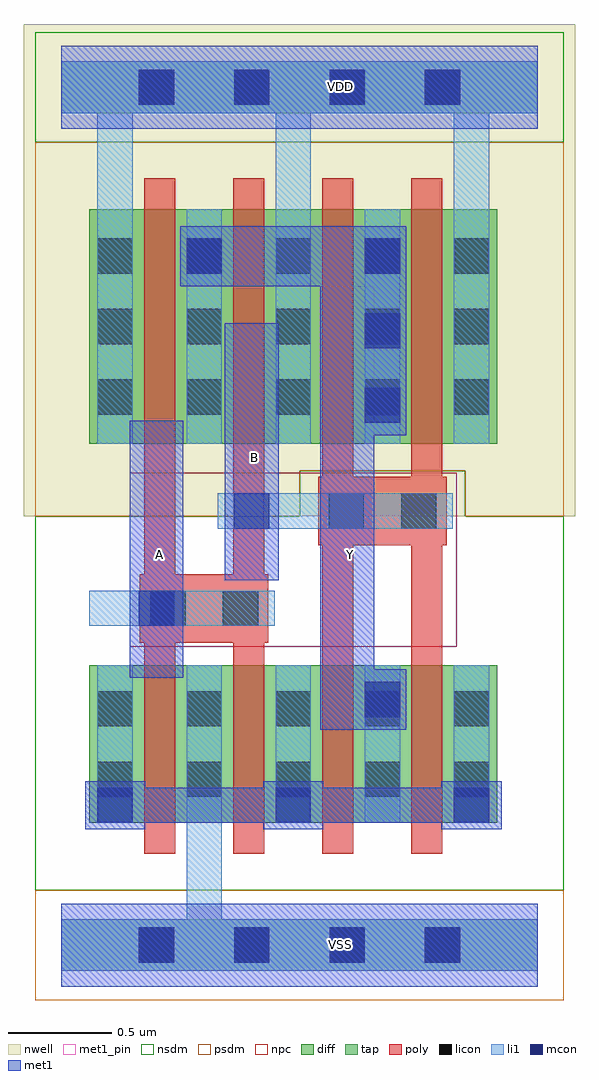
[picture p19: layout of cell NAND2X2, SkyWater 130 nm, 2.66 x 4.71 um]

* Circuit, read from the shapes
.subckt NAND2X2 A B VDD VSS Y
XM1 VSS A n1 VSS sky130_fd_pr__nfet_01v8 w=0.76 l=0.15 m=2
XM2 Y B n1 VSS sky130_fd_pr__nfet_01v8 w=0.76 l=0.15 m=2
XM3 Y A VDD VDD sky130_fd_pr__pfet_01v8 w=1.13 l=0.15 m=2
XM4 Y B VDD VDD sky130_fd_pr__pfet_01v8 w=1.13 l=0.15 m=2
.ends

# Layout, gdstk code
from math import pi, radians
import gdstk
lib = gdstk.Library(unit=1e-6, precision=1e-09)
def R(c, l, rs):  # rectangles x0, y0, x1, y1
    for r in rs: c.add(gdstk.rectangle(r[:2], r[2:], *l))
def A(c, l, x, y, w, h, nx, ny, dx, dy):  # array of equal rectangles
    R(c, l, [(x+i*dx, y+j*dy, x+i*dx+w, y+j*dy+h) for i in range(nx) for j in range(ny)])
def P(c, l, *ps):  # polygons
    for p in ps: c.add(gdstk.Polygon(p, *l))
nwell = (64, 20)
diff = (65, 20)
tap = (65, 44)
poly = (66, 20)
licon = (66, 44)
li1 = (67, 20)
mcon = (67, 44)
met1_pin = (68, 16)
met1 = (68, 20)
nsdm = (93, 44)
psdm = (94, 20)
npc = (95, 20)

l1m1_c_cdns_750710154092 = lib.new_cell('L1M1_C_CDNS_7507101540922')
R(l1m1_c_cdns_750710154092, li1, [(-0.085,-0.085,0.085,0.165)])
R(l1m1_c_cdns_750710154092, mcon, [(-0.085,-0.085,0.085,0.085)])
R(l1m1_c_cdns_750710154092, met1, [(-0.145,-0.115,0.145,0.115)])

l1m1_c_cdns_750710154090 = lib.new_cell('L1M1_C_CDNS_750710154090')
R(l1m1_c_cdns_750710154090, li1, [(-0.165,-0.085,0.165,0.085)])
R(l1m1_c_cdns_750710154090, mcon, [(-0.085,-0.085,0.085,0.085)])
R(l1m1_c_cdns_750710154090, met1, [(-0.115,-0.145,0.115,0.145)])

l1m1_c_cdns_750710154098 = lib.new_cell('L1M1_C_CDNS_750710154098')
R(l1m1_c_cdns_750710154098, li1, [(-0.085,-0.525,0.085,0.525)])
A(l1m1_c_cdns_750710154098, mcon, -0.085, -0.445, 0.17, 0.17, 1, 3, 0, 0.36)
R(l1m1_c_cdns_750710154098, met1, [(-0.115,-0.505,0.115,0.505)])

l1m1_c_cdns_750710154091 = lib.new_cell('L1M1_C_CDNS_750710154091')
R(l1m1_c_cdns_750710154091, li1, [(-0.085,-0.165,0.085,0.165)])
R(l1m1_c_cdns_750710154091, mcon, [(-0.085,-0.085,0.085,0.085)])
R(l1m1_c_cdns_750710154091, met1, [(-0.115,-0.145,0.115,0.145)])

pyl1con_c_cdns_750710154 = lib.new_cell('PYL1CON_C_CDNS_750710154092')
R(pyl1con_c_cdns_750710154, poly, [(-0.135,-0.165,0.135,0.165)])
R(pyl1con_c_cdns_750710154, licon, [(-0.085,-0.085,0.085,0.085)])
R(pyl1con_c_cdns_750710154, npc, [(-0.185,-0.185,0.185,0.185)])

nand2x2 = lib.new_cell('NAND2X2')
R(nand2x2, nwell, [(-0.18,2.07,2.48,4.305), (-0.045,2.24,1.215,3.73), (0.855,2.24,2.285,3.73), (-0.18,3.875,2.48,4.445)])
A(nand2x2, diff, 0.4, 0.59, 0.15, 0.76, 4, 1, 0.43, 0)
A(nand2x2, diff, 0.4, 2.42, 0.15, 1.13, 4, 1, 0.43, 0)
R(nand2x2, diff, [(0.135,0.59,0.4,1.35), (0.55,0.59,0.83,1.35), (0.98,0.59,1.205,1.35), (1.205,0.59,1.26,1.35), (1.41,0.59,1.69,1.35), (1.84,0.59,2.105,1.35), (0.135,2.42,0.4,3.55), (0.55,2.42,0.83,3.55), (0.98,2.42,1.035,3.55), (1.035,2.42,1.26,3.55), (1.41,2.42,1.69,3.55), (1.84,2.42,2.105,3.55)])
A(nand2x2, poly, 0.4, 0.44, 0.15, 0.055, 4, 2, 0.43, 1.005)
A(nand2x2, poly, 0.4, 0.495, 0.15, 0.095, 4, 2, 0.43, 0.855)
A(nand2x2, poly, 0.4, 0.59, 0.15, 0.76, 4, 1, 0.43, 0)
A(nand2x2, poly, 0.4, 2.27, 0.15, 0.055, 4, 2, 0.43, 1.375)
A(nand2x2, poly, 0.4, 2.325, 0.15, 0.095, 4, 2, 0.43, 1.225)
A(nand2x2, poly, 0.4, 2.42, 0.15, 1.13, 4, 1, 0.43, 0)
A(nand2x2, licon, 0.375, -0.085, 0.17, 0.17, 4, 2, 0.46, 4.14)
A(nand2x2, licon, 0.175, 0.715, 0.17, 0.17, 5, 2, 0.43, 0.34)
A(nand2x2, licon, 0.175, 2.56, 0.17, 0.17, 5, 3, 0.43, 0.34)
A(nand2x2, li1, 0.175, 0.59, 0.17, 0.76, 5, 1, 0.43, 0)
A(nand2x2, li1, 0.175, 2.42, 0.17, 1.13, 5, 1, 0.43, 0)
A(nand2x2, mcon, 0.375, -0.085, 0.17, 0.17, 4, 2, 0.46, 4.14)
R(nand2x2, met1_pin, [(1.25,1.04,1.51,3.18), (0.33,1.29,0.59,2.53), (0.79,1.76,1.05,3)])
R(nand2x2, nsdm, [(-0.005,0.46,1.215,1.48), (1.195,0.46,2.245,1.48), (-0.125,3.875,2.425,4.405), (-0.125,3.93,2.425,4.35)])
P(nand2x2, nsdm, [(2.425,2.07),(1.95,2.07),(1.95,2.29),(1.15,2.29),(1.15,2.07),(-0.125,2.07),(-0.125,0.265),(2.425,0.265)])
R(nand2x2, psdm, [(-0.125,-0.265,2.425,0.265), (-0.125,-0.21,2.425,0.21), (-0.005,2.29,1.045,3.68), (1.025,2.29,2.245,3.68)])
P(nand2x2, psdm, [(2.425,3.875),(-0.125,3.875),(-0.125,2.07),(1.15,2.07),(1.15,2.29),(1.95,2.29),(1.95,2.07),(2.425,2.07)])
R(nand2x2, npc, [(0.33,1.44,1.91,2.28)])
nand2x2.add(gdstk.FlexPath([(0.69,0.59),(0.69,0)], 0.17, ends="flush", simple_path=True, layer=67, datatype=20))  # li1
nand2x2.add(gdstk.FlexPath([(0.26,4.14),(1.12,4.14)], 0.25, ends=(0.085, 0.085), simple_path=True, layer=67, datatype=20))  # li1
nand2x2.add(gdstk.FlexPath([(0,4.14),(0.26,4.14)], 0.25, ends=(0, 0.085), simple_path=True, layer=67, datatype=20))  # li1
nand2x2.add(gdstk.FlexPath([(1.12,4.14),(1.98,4.14)], 0.25, ends=(0.085, 0.085), simple_path=True, layer=67, datatype=20))  # li1
nand2x2.add(gdstk.FlexPath([(1.98,0),(2.3,0)], 0.25, ends=(0.085, 0), simple_path=True, layer=67, datatype=20))  # li1
nand2x2.add(gdstk.FlexPath([(0.26,4.14),(0.215,4.14)], 0.17, ends=(0.085, 0), simple_path=True, layer=67, datatype=20))  # li1
nand2x2.add(gdstk.FlexPath([(0.995,2.095),(1.54,2.095)], 0.17, ends="flush", simple_path=True, layer=67, datatype=20))  # li1
nand2x2.add(gdstk.FlexPath([(1.12,4.14),(0.26,4.14)], 0.17, ends="extended", simple_path=True, layer=67, datatype=20))  # li1
nand2x2.add(gdstk.FlexPath([(1.54,2.095),(1.89,2.095)], 0.17, ends="flush", simple_path=True, layer=67, datatype=20))  # li1
nand2x2.add(gdstk.FlexPath([(0.135,1.625),(0.68,1.625)], 0.17, ends="flush", simple_path=True, layer=67, datatype=20))  # li1
nand2x2.add(gdstk.FlexPath([(0.26,0),(1.12,0)], 0.25, ends=(0.085, 0.085), simple_path=True, layer=67, datatype=20))  # li1
nand2x2.add(gdstk.FlexPath([(1.12,0),(1.98,0)], 0.25, ends=(0.085, 0.085), simple_path=True, layer=67, datatype=20))  # li1
nand2x2.add(gdstk.FlexPath([(0,0),(0.26,0)], 0.25, ends=(0, 0.085), simple_path=True, layer=67, datatype=20))  # li1
nand2x2.add(gdstk.FlexPath([(1.98,4.14),(1.12,4.14)], 0.17, ends="extended", simple_path=True, layer=67, datatype=20))  # li1
nand2x2.add(gdstk.FlexPath([(1.98,3.55),(1.98,4.14)], 0.17, ends=(0, 0.125), simple_path=True, layer=67, datatype=20))  # li1
nand2x2.add(gdstk.FlexPath([(1.12,3.55),(1.12,4.14)], 0.17, ends=(0, 0.125), simple_path=True, layer=67, datatype=20))  # li1
nand2x2.add(gdstk.FlexPath([(0.26,3.55),(0.26,4.14)], 0.17, ends=(0, 0.125), simple_path=True, layer=67, datatype=20))  # li1
nand2x2.add(gdstk.FlexPath([(1.98,4.14),(2.3,4.14)], 0.25, ends=(0.085, 0), simple_path=True, layer=67, datatype=20))  # li1
nand2x2.add(gdstk.FlexPath([(0.68,1.625),(1.03,1.625)], 0.17, ends="flush", simple_path=True, layer=67, datatype=20))  # li1
nand2x2.add(gdstk.FlexPath([(1.375,2.095),(1.725,2.095)], 0.33, ends="flush", simple_path=True, layer=66, datatype=20))  # poly
nand2x2.add(gdstk.FlexPath([(0.475,2.27),(0.475,1.39)], 0.15, ends="flush", simple_path=True, layer=66, datatype=20))  # poly
nand2x2.add(gdstk.FlexPath([(0.905,2.27),(0.905,1.39)], 0.15, ends="flush", simple_path=True, layer=66, datatype=20))  # poly
nand2x2.add(gdstk.FlexPath([(1.335,2.27),(1.335,1.375)], 0.15, ends="flush", simple_path=True, layer=66, datatype=20))  # poly
nand2x2.add(gdstk.FlexPath([(1.765,2.27),(1.765,1.355)], 0.15, ends="flush", simple_path=True, layer=66, datatype=20))  # poly
nand2x2.add(gdstk.FlexPath([(0.515,1.625),(0.865,1.625)], 0.33, ends="flush", simple_path=True, layer=66, datatype=20))  # poly
nand2x2.add(gdstk.FlexPath([(1.38,1.04),(1.38,3.18)], 0.26, ends="flush", simple_path=True, layer=68, datatype=20))  # met1
nand2x2.add(gdstk.FlexPath([(0,4.14),(2.3,4.14)], 0.4, ends="flush", simple_path=True, layer=68, datatype=20))  # met1
nand2x2.add(gdstk.FlexPath([(0.92,1.76),(0.92,3)], 0.26, ends="flush", simple_path=True, layer=68, datatype=20))  # met1
nand2x2.add(gdstk.FlexPath([(0,0),(2.3,0)], 0.4, ends="flush", simple_path=True, layer=68, datatype=20))  # met1
nand2x2.add(gdstk.FlexPath([(0.46,1.29),(0.46,2.53)], 0.26, ends="flush", simple_path=True, layer=68, datatype=20))  # met1
nand2x2.add(gdstk.FlexPath([(0.69,3.325),(1.435,3.325)], 0.29, ends="flush", simple_path=True, layer=68, datatype=20))  # met1
nand2x2.add(gdstk.FlexPath([(0.26,0.675),(1.98,0.675)], 0.17, ends="flush", simple_path=True, layer=68, datatype=20))  # met1
nand2x2.add(gdstk.FlexPath([(0,4.14),(2.3,4.14)], 0.25, ends="flush", simple_path=True, layer=65, datatype=44))  # tap
nand2x2.add(gdstk.FlexPath([(0,0),(2.3,0)], 0.25, ends="flush", simple_path=True, layer=65, datatype=44))  # tap
nand2x2.add(gdstk.FlexPath([(0,0),(2.3,0)], 0.4, ends="flush", simple_path=True, layer=68, datatype=16))  # met1_pin
nand2x2.add(gdstk.FlexPath([(0,4.14),(2.3,4.14)], 0.4, ends="flush", simple_path=True, layer=68, datatype=16))  # met1_pin
nand2x2.add(gdstk.Reference(l1m1_c_cdns_750710154092, (0.26,0.675)))
nand2x2.add(gdstk.Reference(l1m1_c_cdns_750710154092, (1.12,0.675)))
nand2x2.add(gdstk.Reference(l1m1_c_cdns_750710154092, (1.98,0.675)))
nand2x2.add(gdstk.Reference(l1m1_c_cdns_750710154090, (0.92,2.095), x_reflection=True))
nand2x2.add(gdstk.Reference(l1m1_c_cdns_750710154090, (0.46,1.625), x_reflection=True))
nand2x2.add(gdstk.Reference(l1m1_c_cdns_750710154098, (1.55,2.965)))
nand2x2.add(gdstk.Reference(l1m1_c_cdns_750710154091, (0.69,3.325)))
nand2x2.add(gdstk.Reference(l1m1_c_cdns_750710154091, (1.55,1.185)))
nand2x2.add(gdstk.Reference(pyl1con_c_cdns_750710154, (1.375,2.095), rotation=pi, x_reflection=True))
nand2x2.add(gdstk.Reference(pyl1con_c_cdns_750710154, (1.725,2.095), rotation=pi, x_reflection=True))
nand2x2.add(gdstk.Reference(pyl1con_c_cdns_750710154, (0.515,1.625), rotation=pi, x_reflection=True))
nand2x2.add(gdstk.Reference(pyl1con_c_cdns_750710154, (0.865,1.625), rotation=pi, x_reflection=True))
nand2x2.add(gdstk.Label('B', (0.935,2.355), layer=68, texttype=5))
nand2x2.add(gdstk.Label('Y', (1.395,1.885), layer=68, texttype=5))
nand2x2.add(gdstk.Label('VDD', (1.35,4.145), layer=68, texttype=5))
nand2x2.add(gdstk.Label('VSS', (1.35,0.005), layer=68, texttype=5))
nand2x2.add(gdstk.Label('A', (0.475,1.885), layer=68, texttype=5))

lib.write_gds('NAND2X2.gds')
